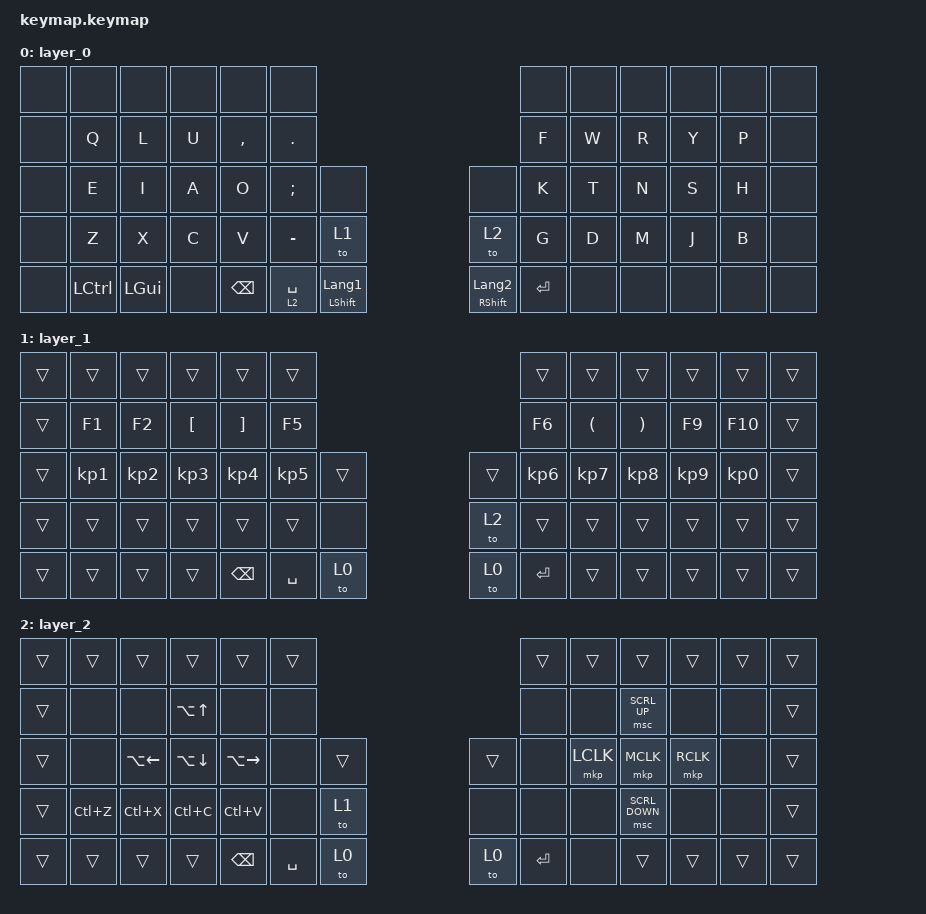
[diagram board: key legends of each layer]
#include <behaviors.dtsi>
#include <dt-bindings/zmk/bt.h>
#include <dt-bindings/zmk/keys.h>
#include <dt-bindings/zmk/pointing.h>

#include <input/processors.dtsi>

&zip_temp_layer {
    excluded-positions = <
        14
        19
        25
        26
        27
        32
        33
        34
        38
        39
        40
        41
        47
    >;
};

/ {
    trackball_listener: trackball_listener {
        compatible = "zmk,input-listener";
        device = <&trackball>;

        input-processors = <&zip_temp_layer 2 10000>;
    };
};

/ {
    combos {
        compatible = "zmk,combos";

        bt_clear {
            bindings = <&bt BT_CLR>;
            key-positions = <28 29>;
            layers = <2>;
        };
    };

    keymap {
        compatible = "zmk,keymap";

        layer_0 {
            bindings = <
&none  &none      &none     &none  &none      &none                                                            &none       &none  &none  &none  &none  &none
&none  &kp Q      &kp L     &kp U  &kp COMMA  &kp PERIOD                                                       &kp F       &kp W  &kp R  &kp Y  &kp P  &none
&none  &kp E      &kp I     &kp A  &kp O      &kp SEMICOLON  &none                      &none                  &kp K       &kp T  &kp N  &kp S  &kp H  &none
&none  &kp Z      &kp X     &kp C  &kp V      &kp MINUS      &to 1                      &to 2                  &kp G       &kp D  &kp M  &kp J  &kp B  &none
&none  &kp LCTRL  &kp LGUI  &none  &kp BSPC   &lt 2 SPACE    &mt LEFT_SHIFT LANGUAGE_1  &mt RSHIFT LANGUAGE_2  &kp RETURN  &none  &none  &none  &none  &none
            >;
        };

        layer_1 {
            bindings = <
&trans  &trans           &trans           &trans            &trans             &trans                           &trans           &trans                &trans                 &trans           &trans           &trans
&trans  &kp F1           &kp F2           &kp LEFT_BRACKET  &kp RIGHT_BRACKET  &kp F5                           &kp F6           &kp LEFT_PARENTHESIS  &kp RIGHT_PARENTHESIS  &kp F9           &kp F10          &trans
&trans  &kp KP_NUMBER_1  &kp KP_NUMBER_2  &kp KP_NUMBER_3   &kp KP_NUMBER_4    &kp KP_NUMBER_5  &trans  &trans  &kp KP_NUMBER_6  &kp KP_NUMBER_7       &kp KP_NUMBER_8        &kp KP_NUMBER_9  &kp KP_NUMBER_0  &trans
&trans  &trans           &trans           &trans            &trans             &trans           &none   &to 2   &trans           &trans                &trans                 &trans           &trans           &trans
&trans  &trans           &trans           &trans            &kp BACKSPACE      &kp SPACE        &to 0   &to 0   &kp RET          &trans                &trans                 &trans           &trans           &trans
            >;
        };

        layer_2 {
            bindings = <
&trans  &trans     &trans        &trans            &trans         &trans                     &trans   &trans     &trans          &trans     &trans  &trans
&trans  &none      &none         &kp LA(UP_ARROW)  &none          &none                      &none    &none      &msc SCRL_UP    &none      &none   &trans
&trans  &none      &kp LA(LEFT)  &kp LA(DOWN)      &kp LA(RIGHT)  &none      &trans  &trans  &none    &mkp LCLK  &mkp MCLK       &mkp RCLK  &none   &trans
&trans  &kp LC(Z)  &kp LC(X)     &kp LC(C)         &kp LC(V)      &none      &to 1   &none   &none    &none      &msc SCRL_DOWN  &none      &none   &trans
&trans  &trans     &trans        &trans            &kp BACKSPACE  &kp SPACE  &to 0   &to 0   &kp RET  &none      &trans          &trans     &trans  &trans
            >;
        };
    };
};
